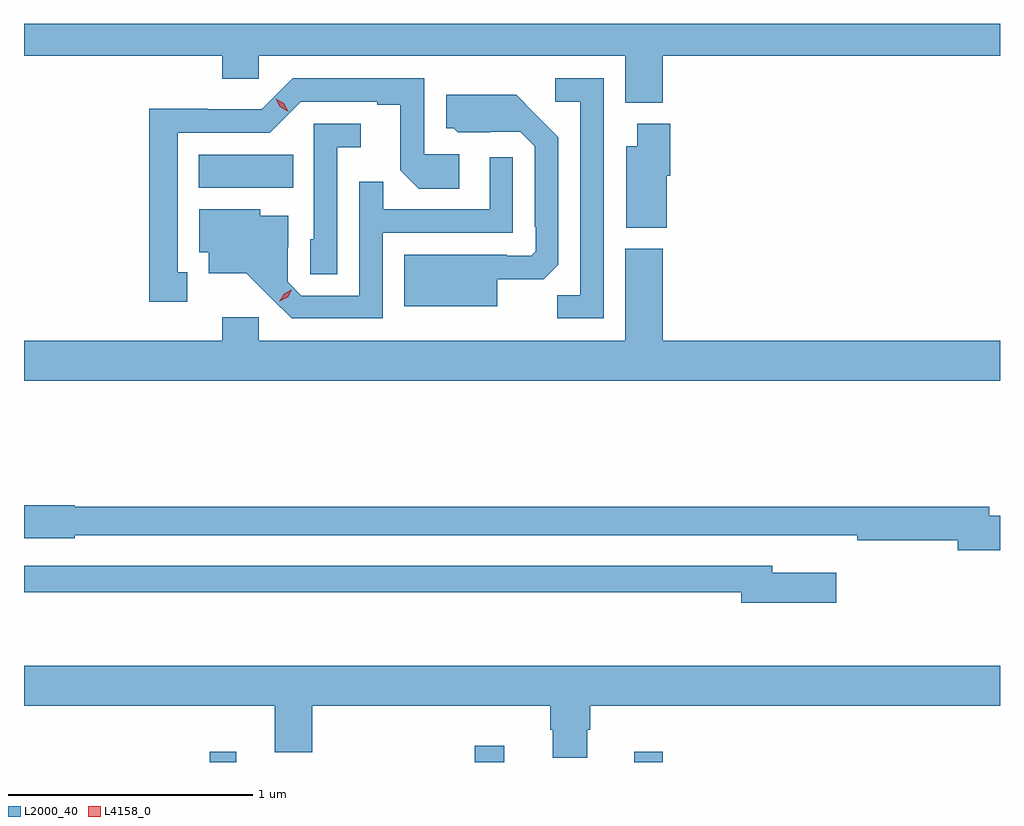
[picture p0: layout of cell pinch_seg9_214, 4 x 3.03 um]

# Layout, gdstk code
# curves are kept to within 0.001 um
import gdstk
lib = gdstk.Library(unit=1e-6, precision=1e-09)
def R(c, l, rs):  # rectangles x0, y0, x1, y1
    for r in rs: c.add(gdstk.rectangle(r[:2], r[2:], *l))
def P(c, l, *ps):  # polygons
    for p in ps: c.add(gdstk.Polygon(p, *l))
L2000_40 = (2000, 40)
L4158_0 = (4158, 0)

pinch_seg9_214 = lib.new_cell('pinch_seg9_214')
R(pinch_seg9_214, L2000_40, [(587.853,1245.473,587.961,1245.517), (588.938,1245.473,589.06,1245.541), (589.593,1245.473,589.709,1245.517), (587.807,1247.828,588.194,1247.962)])
P(pinch_seg9_214, L2000_40, [(589.709,1248.368),(591.091,1248.368),(591.091,1248.5),(587.091,1248.5),(587.091,1248.368),(587.903,1248.368),(587.903,1248.275),(588.054,1248.275),(588.054,1248.368),(589.556,1248.368),(589.556,1248.176),(589.709,1248.176)],
  [(589.467,1248.276),(589.269,1248.276),(589.269,1248.18),(589.371,1248.18),(589.371,1247.387),(589.276,1247.387),(589.276,1247.292),(589.467,1247.292)],
  [(587.761,1247.481),(587.722,1247.481),(587.722,1248.054),(588.099,1248.054),(588.225,1248.18),(588.539,1248.18),(588.539,1248.168),(588.633,1248.168),(588.633,1247.9),(588.709,1247.824),(588.874,1247.824),(588.874,1247.964),(588.732,1247.964),(588.732,1248.276),(588.192,1248.276),(588.066,1248.15),(587.844,1248.15),(587.844,1248.152),(587.604,1248.152),(587.604,1247.361),(587.761,1247.361)],
  [(589.03,1247.453),(589.222,1247.453),(589.281,1247.512),(589.281,1248.034),(589.109,1248.208),(588.821,1248.208),(588.821,1248.072),(588.852,1248.072),(588.868,1248.056),(589.125,1248.057),(589.185,1247.997),(589.185,1247.668),(589.188,1247.668),(589.188,1247.568),(589.17,1247.55),(589.07,1247.55),(589.07,1247.554),(588.65,1247.554),(588.65,1247.342),(589.03,1247.342)],
  [(589.726,1247.877),(589.739,1247.877),(589.739,1248.091),(589.604,1248.091),(589.604,1247.998),(589.559,1247.998),(589.559,1247.663),(589.726,1247.663)],
  [(588.375,1247.993),(588.472,1247.993),(588.472,1248.09),(588.279,1248.09),(588.279,1247.616),(588.264,1247.616),(588.264,1247.473),(588.375,1247.473)],
  [(588.561,1247.643),(589.095,1247.643),(589.095,1247.953),(588.999,1247.953),(588.999,1247.739),(588.563,1247.739),(588.563,1247.852),(588.465,1247.852),(588.465,1247.385),(588.228,1247.385),(588.171,1247.442),(588.171,1247.584),(588.175,1247.584),(588.175,1247.713),(588.06,1247.713),(588.06,1247.74),(587.81,1247.74),(587.81,1247.564),(587.849,1247.564),(587.849,1247.477),(588.001,1247.477),(588.188,1247.292),(588.561,1247.292)],
  [(591.091,1247.2),(589.709,1247.2),(589.709,1247.578),(589.556,1247.578),(589.556,1247.2),(588.054,1247.2),(588.054,1247.296),(587.903,1247.296),(587.903,1247.2),(587.091,1247.2),(587.091,1247.036),(591.091,1247.036)],
  [(591.091,1246.484),(591.046,1246.484),(591.046,1246.52),(587.298,1246.52),(587.298,1246.526),(587.091,1246.526),(587.091,1246.391),(587.298,1246.391),(587.298,1246.404),(590.254,1246.404),(590.254,1246.403),(590.506,1246.403),(590.506,1246.384),(590.918,1246.384),(590.918,1246.342),(591.091,1246.342)],
  [(590.419,1246.249),(590.158,1246.249),(590.158,1246.278),(587.091,1246.278),(587.091,1246.17),(590.03,1246.17),(590.03,1246.127),(590.419,1246.127)],
  [(589.399,1245.606),(589.412,1245.606),(589.412,1245.704),(591.091,1245.704),(591.091,1245.868),(587.091,1245.868),(587.091,1245.704),(588.119,1245.704),(588.119,1245.515),(588.272,1245.515),(588.272,1245.704),(589.247,1245.704),(589.247,1245.606),(589.259,1245.606),(589.259,1245.492),(589.399,1245.492)])
P(pinch_seg9_214, L4158_0, [(588.14,1247.363),(588.14,1247.364),(588.157,1247.393),(588.187,1247.409),(588.188,1247.409),(588.188,1247.409),(588.171,1247.379),(588.14,1247.363)],
  [(588.172,1248.141),(588.14,1248.16),(588.123,1248.192),(588.123,1248.192),(588.123,1248.192),(588.155,1248.174),(588.173,1248.141),(588.173,1248.141)])

lib.write_gds('pinch_seg9_214.gds')
